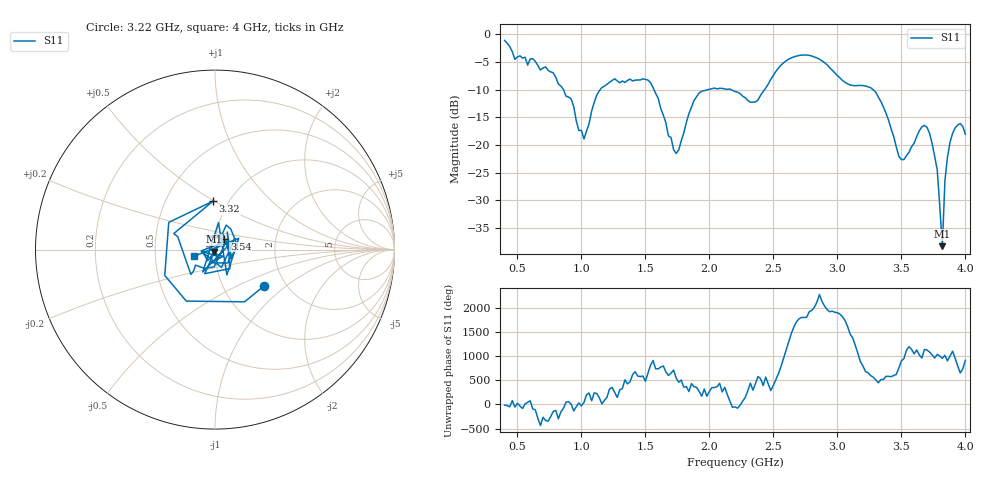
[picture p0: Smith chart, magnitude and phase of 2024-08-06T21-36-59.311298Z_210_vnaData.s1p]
!Created with skrf (http://scikit-rf.org).
# Hz S RI R 50.0
!freq ReS11 ImS11
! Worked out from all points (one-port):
!   181 points, 400 MHz to 4 GHz, reference 50 ohm
!   lowest |S11| = -38.3 dB at 3.82 GHz (marker M1), VSWR 1.02, Z = 49.4 - j1.05 ohm
!   |S11| at or under -10 dB: 859.7 MHz to 1.148 GHz (287.8 MHz wide, 28.7 % of centre); 1.567 GHz to 1.99 GHz (423.4 MHz wide, 23.8 % of centre); 3.278 GHz to end of sweep (the widest 3 of 4)
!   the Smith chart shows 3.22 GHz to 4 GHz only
!   S11 on the Smith chart (normalised r, x): 3.22 GHz: 1.56, -0.71; 3.32 GHz: 0.85, +0.49; 3.54 GHz: 1.10, +0.14; 4 GHz: 0.79, -0.06
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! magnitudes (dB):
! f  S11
! 400 MHz  -1.1
! 480 MHz  -4.6
! 860 MHz  -10.0
! 1.02 GHz  -18.9
! 1.14 GHz  -10.2
! 1.3 GHz  -8.8
! 1.54 GHz  -8.7
! 1.72 GHz  -20.8
! 1.76 GHz  -20.9
! 1.92 GHz  -10.6
! 2.2 GHz  -10.4
! 2.36 GHz  -12.2
! 2.66 GHz  -4.1
! 2.84 GHz  -4.3
! 3.1 GHz  -9.2
! 3.22 GHz  -9.4
! 3.32 GHz  -11.4
! 3.48 GHz  -22.1
! 3.54 GHz  -21.9
! 3.56 GHz  -21.3
! 3.66 GHz  -16.7
! 3.72 GHz  -17.9
! 3.78 GHz  -24.5
! 3.82 GHz  -38.3
! 3.84 GHz  -26.5
! 3.88 GHz  -19.5
! 3.94 GHz  -16.4
! 4 GHz  -18.1
